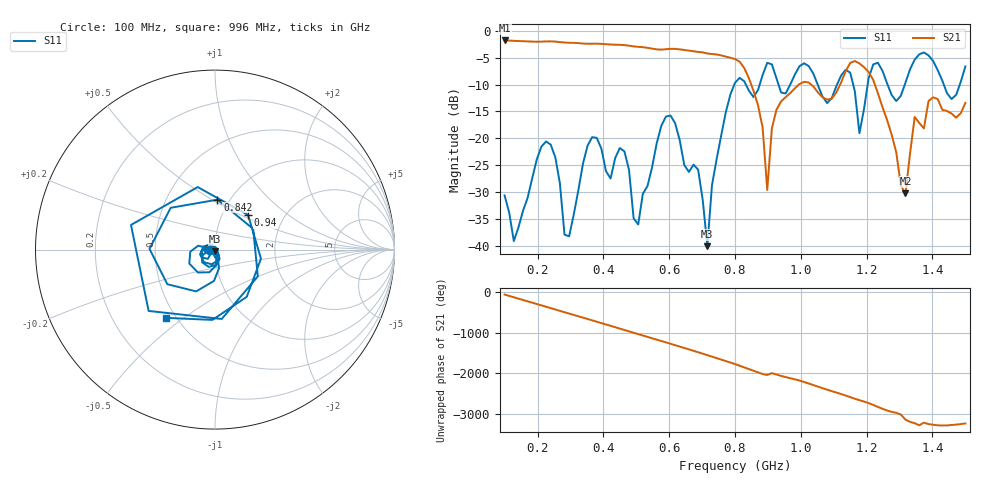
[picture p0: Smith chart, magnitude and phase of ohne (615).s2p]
! NanoVNA-App
! Date: 2025-09-25 14:25:35
! Start: 100MHz Stop: 1,5GHz Points: 101
! S-Parameter data: F S11 S21 S12 S22
# Hz S RI R 50
!  Frequency  S11_Real  S11_Imag  S21_Real  S21_Imag  S12_Real  S12_Imag  S22_Real  S22_Imag
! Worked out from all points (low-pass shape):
!   101 points, 100 MHz to 1.5 GHz, reference 50 ohm
!   highest |S21| = -1.79 dB at 100 MHz (marker M1); lowest = -30.3 dB at 1.318 GHz (marker M2)
!   |S21| within 3 dB of the highest: start of sweep to 771.6 MHz
!   lowest |S11| = -40.1 dB at 716 MHz (marker M3), VSWR 1.02, Z = 49.7 - j0.952 ohm
!   |S11| at or under -10 dB: start of sweep to 797.9 MHz; 833 MHz to 875.1 MHz (42.07 MHz wide, 4.93 % of centre); 1.051 GHz to 1.11 GHz (58.93 MHz wide, 5.45 % of centre)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
!   S12 and S22 are empty: the file has one direction only
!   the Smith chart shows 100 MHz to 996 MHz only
!   S11 on the Smith chart (normalised r, x): 100 MHz: 0.94, -0.01; 842 MHz: 0.88, +0.53; 940 MHz: 1.32, +0.55; 996 MHz: 0.44, -0.43
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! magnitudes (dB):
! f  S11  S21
! 100 MHz  -30.6  -1.8
! 128 MHz  -39.1  -1.9
! 226 MHz  -20.6  -2.0
! 296 MHz  -38.3  -2.2
! 338 MHz  -24.7  -2.4
! 464 MHz  -22.4  -2.7
! 506 MHz  -36.0  -3.0
! 576 MHz  -17.7  -3.5
! 688 MHz  -25.9  -3.9
! 716 MHz  -40.1  -4.2
! 800 MHz  -9.7  -5.2
! 842 MHz  -11.1  -8.8
! 898 MHz  -6.0  -29.6
! 940 MHz  -11.5  -13.1
! 996 MHz  -6.6  -9.9
! 1.038 GHz  -8.0  -10.4
! 1.178 GHz  -19.1  -6.1
! 1.22 GHz  -6.3  -9.1
! 1.276 GHz  -11.9  -19.3
! 1.318 GHz  -9.6  -30.3
! 1.346 GHz  -5.4  -16.0
! 1.5 GHz  -6.6  -13.4
